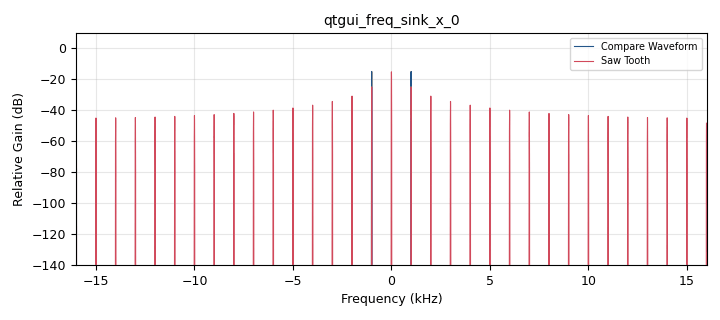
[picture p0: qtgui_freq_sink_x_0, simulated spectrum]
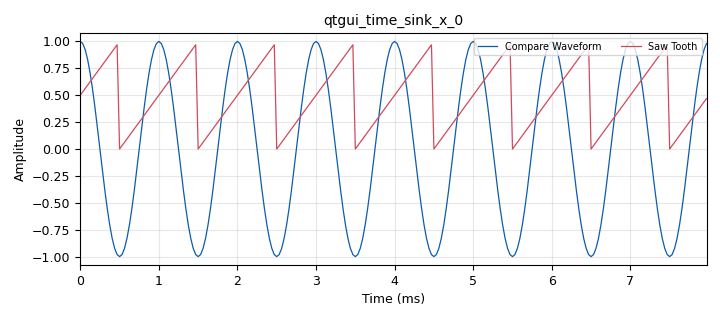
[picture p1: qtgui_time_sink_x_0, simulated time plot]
options:
  parameters:
    author: rcampello
    generate_options: qt_gui
    id: E1C
    output_language: python
    title: E1-C
  states: {}

blocks:
- name: f0
  id: variable_qtgui_range
  parameters:
    gui_hint: 1, 1, 1, 1
    orient: Qt.Horizontal
    start: '-5000'
    step: '1'
    stop: '5000'
    value: '1000'
  states: {}
- name: offset
  id: variable_qtgui_range
  parameters:
    gui_hint: 0, 1, 1, 1
    orient: Qt.Horizontal
    start: '-1'
    step: '0.01'
    stop: '1'
    value: '0'
  states: {}
- name: samp_rate
  id: variable
  parameters:
    value: '32000'
  states: {}
- name: waveform
  id: variable_qtgui_chooser
  parameters:
    gui_hint: 0, 0, 2, 1
    label0: Cosine
    label1: Rectangular
    label2: Triangular
    num_opts: '3'
    option1: '103'
    option2: '104'
    type: int
    value: '102'
    widget: radio_buttons
  states: {}
- name: analog_sig_source_x_0
  id: analog_sig_source_x
  parameters:
    amp: '1'
    freq: f0
    offset: offset
    phase: '0'
    samp_rate: samp_rate
    type: float
    waveform: waveform
  states: {}
- name: analog_sig_source_x_1
  id: analog_sig_source_x
  parameters:
    amp: '1'
    freq: f0
    offset: offset
    phase: '0'
    samp_rate: samp_rate
    type: float
    waveform: analog.GR_SAW_WAVE
  states: {}
- name: blocks_throttle_0
  id: blocks_throttle
  parameters:
    samples_per_second: samp_rate
    type: float
  states: {}
- name: qtgui_freq_sink_x_0
  id: qtgui_freq_sink_x
  parameters:
    bw: samp_rate
    fc: '0'
    fftsize: 1024 * 8
    grid: 'True'
    gui_hint: 2, 1, 1, 1
    label1: '''Compare Waveform'''
    label2: '''Saw Tooth'''
    nconnections: '2'
    type: float
    wintype: firdes.WIN_BLACKMAN_hARRIS
  states: {}
- name: qtgui_time_sink_x_0
  id: qtgui_time_sink_x
  parameters:
    grid: 'True'
    gui_hint: 2, 0, 1, 1
    label1: Compare Waveform
    label2: Saw Tooth
    nconnections: '2'
    size: 1024 // 4
    srate: samp_rate
    type: float
  states: {}

connections:
- [analog_sig_source_x_0, '0', blocks_throttle_0, '0']
- [analog_sig_source_x_1, '0', qtgui_freq_sink_x_0, '1']
- [analog_sig_source_x_1, '0', qtgui_time_sink_x_0, '1']
- [blocks_throttle_0, '0', qtgui_freq_sink_x_0, '0']
- [blocks_throttle_0, '0', qtgui_time_sink_x_0, '0']

metadata:
  file_format: 1
